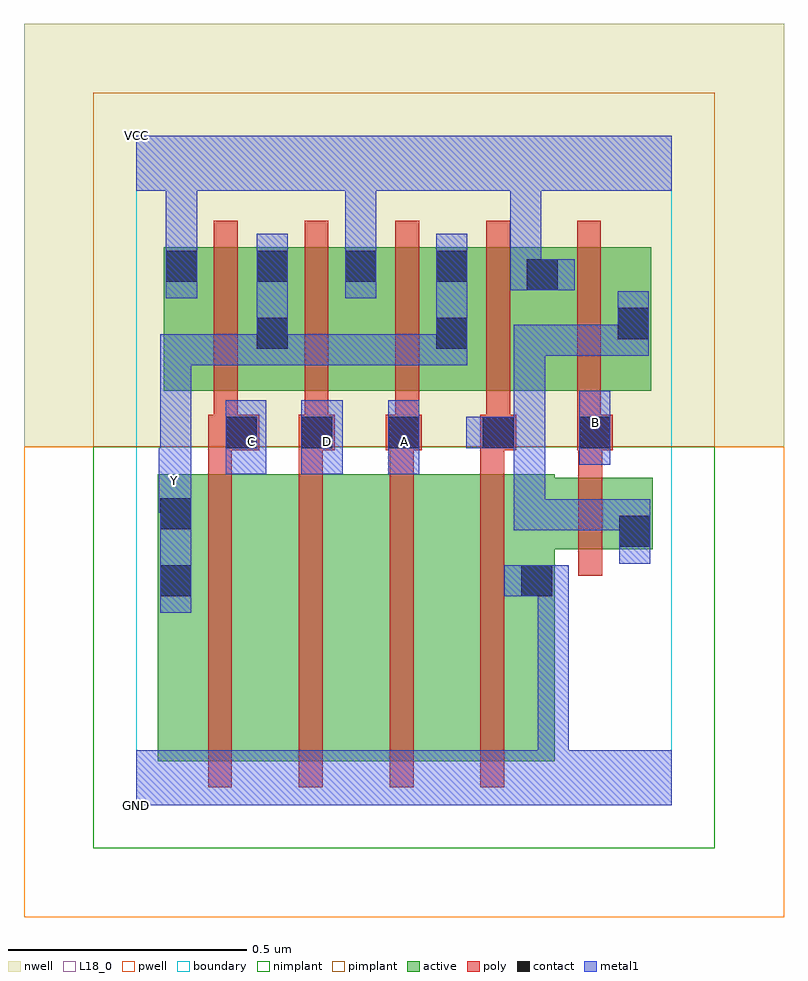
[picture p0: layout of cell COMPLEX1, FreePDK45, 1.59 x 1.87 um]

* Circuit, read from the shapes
.subckt COMPLEX1 A B C D GND VCC Y
M1 n1 C Y VSUBS nfet w=0.6u l=0.05u
M2 n2 D n1 VSUBS nfet w=0.6u l=0.05u
M3 n3 A n2 VSUBS nfet w=0.6u l=0.05u
M4 GND n4 n3 VSUBS nfet w=0.6u l=0.05u
M5 n4 B GND VSUBS nfet w=0.15u l=0.05u
M6 Y C VCC n5 pfet w=0.3u l=0.05u
M7 VCC D Y n5 pfet w=0.3u l=0.05u
M8 Y A VCC n5 pfet w=0.3u l=0.05u
M9 VCC n4 Y n5 pfet w=0.3u l=0.05u
M10 n4 B VCC n5 pfet w=0.3u l=0.05u
.ends

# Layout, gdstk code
import gdstk
lib = gdstk.Library(unit=1e-6, precision=1e-09)
def R(c, l, rs):  # rectangles x0, y0, x1, y1
    for r in rs: c.add(gdstk.rectangle(r[:2], r[2:], *l))
def A(c, l, x, y, w, h, nx, ny, dx, dy):  # array of equal rectangles
    R(c, l, [(x+i*dx, y+j*dy, x+i*dx+w, y+j*dy+h) for i in range(nx) for j in range(ny)])
active = (1, 0)
pwell = (2, 0)
nwell = (3, 0)
nimplant = (4, 0)
pimplant = (5, 0)
poly = (9, 0)
contact = (10, 0)
metal1 = (11, 0)
L18_0 = (18, 0)
boundary = (235, 0)

complex1 = lib.new_cell('COMPLEX1')
A(complex1, active, 0.432, 0.867, 0.265, 0.3, 3, 1, 0.19, 0)
R(complex1, active, [(0.045,0.092,0.27,0.692), (0.27,0.092,0.46,0.692), (0.46,0.092,0.65,0.692), (0.65,0.092,0.875,0.692), (0.8,0.092,0.875,0.535), (0.045,0.095,0.15,0.692), (0.8,0.535,1.08,0.685), (1.005,0.535,1.08,0.685), (0.057,0.867,0.322,1.167), (0.057,0.867,0.132,1.167), (0.247,0.867,0.507,1.167), (0.812,0.867,0.887,1.167), (1.002,0.867,1.077,1.165), (0.622,0.877,0.697,1.167), (0.247,0.907,0.322,1.167), (0.432,1.007,0.507,1.167)])
R(complex1, pwell, [(-0.235,-0.235,1.355,0.75)])
R(complex1, nwell, [(-0.235,0.75,1.355,1.635)])
R(complex1, nimplant, [(-0.09,-0.09,1.21,0.75)])
R(complex1, pimplant, [(-0.09,0.75,1.21,1.49)])
A(complex1, poly, 0.15, 0.037, 0.05, 0.71, 4, 1, 0.19, 0)
A(complex1, poly, 0.15, 0.697, 0.05, 0.095, 4, 1, 0.19, 0)
A(complex1, poly, 0.162, 0.767, 0.05, 0.095, 5, 1, 0.19, 0)
A(complex1, poly, 0.162, 0.812, 0.05, 0.41, 5, 1, 0.19, 0)
R(complex1, poly, [(0.925,0.48,0.975,0.74), (0.925,0.69,0.975,0.792), (0.15,0.742,0.257,0.817), (0.34,0.742,0.415,0.817), (0.522,0.742,0.597,0.817), (0.72,0.742,0.795,0.817), (0.922,0.742,0.997,0.817)])
R(complex1, contact, [(0.05,0.437,0.115,0.502), (0.805,0.437,0.87,0.502), (1.01,0.54,1.075,0.605), (0.05,0.577,0.115,0.642), (0.187,0.747,0.252,0.812), (0.345,0.747,0.41,0.812), (0.527,0.747,0.592,0.812), (0.725,0.747,0.79,0.812), (0.927,0.747,0.992,0.812), (0.252,0.955,0.317,1.02), (0.627,0.955,0.692,1.02), (1.007,0.975,1.072,1.04), (0.817,1.077,0.882,1.142), (0.062,1.095,0.127,1.16), (0.252,1.095,0.317,1.16), (0.437,1.095,0.502,1.16), (0.627,1.095,0.692,1.16)])
R(complex1, metal1, [(0,0,1.12,0.115), (0.84,0.05,0.905,0.502), (0.05,0.402,0.115,0.677), (0.77,0.437,0.905,0.502), (1.01,0.505,1.075,0.64), (0.79,0.575,0.855,0.64), (0.79,0.575,1.075,0.64), (0.79,0.575,0.855,0.812), (1.01,0.575,1.075,0.64), (1.01,0.575,1.075,0.64), (0.047,0.612,0.115,0.747), (0.05,0.612,0.115,0.677), (0.05,0.682,0.115,0.985), (0.187,0.692,0.272,0.847), (0.345,0.692,0.432,0.847), (0.527,0.692,0.592,0.847), (0.927,0.712,0.992,0.867), (0.69,0.747,0.825,0.812), (0.76,0.747,0.855,0.812), (0.79,0.747,0.855,0.812), (0.79,0.747,0.855,1.005), (0.05,0.92,0.115,0.985), (0.05,0.92,0.115,0.985), (0.05,0.92,0.115,0.985), (0.05,0.92,0.317,0.985), (0.252,0.92,0.317,0.985), (0.252,0.92,0.317,0.985), (0.252,0.92,0.317,1.195), (0.252,0.92,0.492,0.985), (0.427,0.92,0.492,0.985), (0.427,0.92,0.492,0.985), (0.427,0.92,0.492,0.985), (0.427,0.92,0.692,0.985), (0.627,0.92,0.692,1.195), (0.79,0.94,0.855,1.005), (0.79,0.94,1.072,1.005), (1.007,0.94,1.072,1.005), (1.007,0.94,1.072,1.005), (1.007,0.94,1.072,1.075), (0.062,1.06,0.127,1.195), (0.437,1.06,0.502,1.195), (0.782,1.077,0.847,1.142), (0.782,1.077,0.847,1.142), (0.782,1.077,0.847,1.35), (0.782,1.077,0.917,1.142), (0.062,1.13,0.127,1.195), (0.062,1.13,0.127,1.195), (0.062,1.13,0.127,1.35), (0.437,1.13,0.502,1.195), (0.437,1.13,0.502,1.195), (0.437,1.13,0.502,1.35), (0,1.285,1.12,1.4)])
A(complex1, L18_0, 0.207, 0.727, 0.065, 0.065, 3, 1, 0.16, 0)
R(complex1, L18_0, [(0,0,1.12,0.115), (0.84,0.05,0.905,0.502), (0.05,0.402,0.115,0.677), (0.77,0.437,0.905,0.502), (0.047,0.612,0.115,0.747), (0.05,0.612,0.115,0.677), (0.047,0.647,0.112,0.712), (0.05,0.682,0.115,0.985), (0.187,0.692,0.272,0.847), (0.345,0.692,0.432,0.847), (0.527,0.692,0.592,0.847), (0.927,0.712,0.992,0.867), (0.927,0.767,0.992,0.832), (0.05,0.92,0.115,0.985), (0.05,0.92,0.115,0.985), (0.05,0.92,0.115,0.985), (0.05,0.92,0.317,0.985), (0.252,0.92,0.317,1.195), (0.252,0.92,0.317,0.985), (0.252,0.92,0.317,0.985), (0.252,0.92,0.492,0.985), (0.427,0.92,0.492,0.985), (0.427,0.92,0.492,0.985), (0.427,0.92,0.492,0.985), (0.427,0.92,0.692,0.985), (0.627,0.92,0.692,1.195), (0.062,1.06,0.127,1.195), (0.437,1.06,0.502,1.195), (0.782,1.077,0.847,1.142), (0.782,1.077,0.847,1.142), (0.782,1.077,0.917,1.142), (0.782,1.077,0.847,1.35), (0.062,1.13,0.127,1.195), (0.062,1.13,0.127,1.195), (0.062,1.13,0.127,1.35), (0.437,1.13,0.502,1.195), (0.437,1.13,0.502,1.195), (0.437,1.13,0.502,1.35), (0,1.285,1.12,1.4)])
R(complex1, boundary, [(0,0,1.12,1.4)])
complex1.add(gdstk.Label('A', (0.56,0.76), layer=11, texttype=0))
complex1.add(gdstk.Label('B', (0.96,0.8), layer=11, texttype=0))
complex1.add(gdstk.Label('C', (0.24,0.76), layer=11, texttype=0))
complex1.add(gdstk.Label('D', (0.4,0.76), layer=11, texttype=0))
complex1.add(gdstk.Label('Y', (0.08,0.68), layer=11, texttype=0))
complex1.add(gdstk.Label('VCC', (0,1.4), layer=11, texttype=0))
complex1.add(gdstk.Label('GND', (0,0), layer=11, texttype=0))

lib.write_gds('COMPLEX1.gds')
